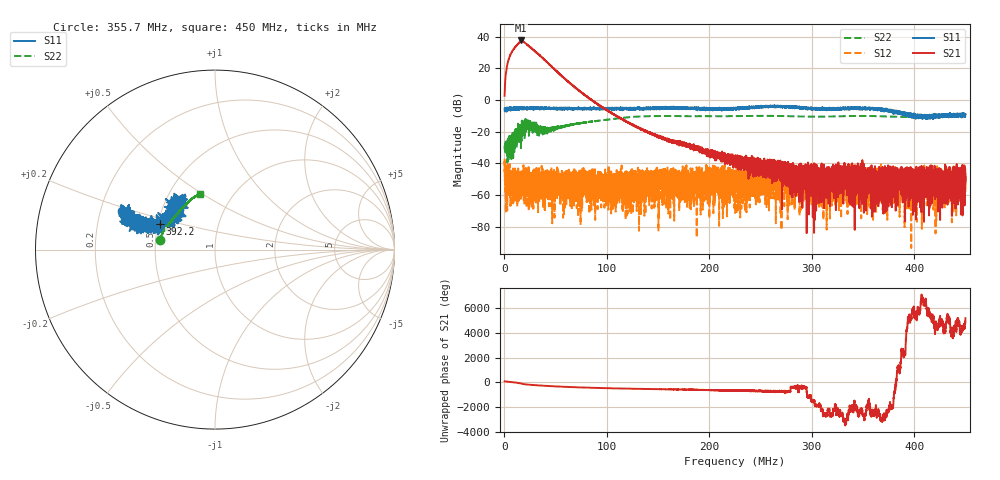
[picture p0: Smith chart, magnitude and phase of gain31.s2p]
# Hz S DB R 50
! CMT, M5065, 19127446, 24.2.4/2
! Date: 12/3/2024 4:14:46 PM
! Data: Format (Calibration Info)
! Freq	S11:dB/Ang(F2)	S21:dB/Ang(F2)	S12:dB/Ang(F2)	S22:dB/Ang(F2)
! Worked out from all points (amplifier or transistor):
!   9000 points, 300 kHz to 450 MHz, reference 50 ohm
!   highest |S21| = 37.6 dB at 16.54 MHz (marker M1)
!   |S21| within 3 dB of that: 12.19 MHz to 22.97 MHz (10.78 MHz wide, 61.3 % of centre)
!   unconditionally stable (mu >= 1): start of sweep to 18.67 MHz; 18.71 MHz to end of sweep
!   at 75.26 MHz: K = 113.48, MAG = 6.5 dB, |S12| = -55.3 dB
!   at 225.2 MHz: K = 8038.92, MAG = -37.2 dB, |S12| = -48.7 dB
!   at 450 MHz: K = 66541.18, MAG = -47.5 dB, |S12| = -56.0 dB
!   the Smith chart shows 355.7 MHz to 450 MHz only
!   S11 on the Smith chart (normalised r, x): 355.7 MHz: 0.29, +0.18; 392.2 MHz: 0.51, +0.16; 450 MHz: 0.55, +0.33
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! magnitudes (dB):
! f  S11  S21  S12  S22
! 300 kHz  -5.6  2.7  -37.2  -30.2
! 2.749 MHz  -4.8  21.8  -45.4  -29.2
! 5.297 MHz  -5.6  27.6  -53.6  -30.6
! 7.796 MHz  -6.2  30.9  -54.5  -26.5
! 16.54 MHz  -5.7  37.6  -48.8  -15.6
! 22.79 MHz  -5.0  34.7  -52.2  -15.8
! 42.38 MHz  -5.6  23.6  -48.7  -17.9
! 75.26 MHz  -5.2  4.8  -55.3  -14.5
! 111.8 MHz  -5.2  -11.0  -55.1  -11.5
! 150.2 MHz  -4.7  -23.0  -46.3  -10.1
! 225.2 MHz  -5.7  -39.0  -48.7  -10.2
! 272.9 MHz  -4.6  -42.5  -46.7  -10.2
! 300.1 MHz  -5.2  -41.9  -46.3  -10.5
! 355.7 MHz  -5.0  -48.4  -52.8  -10.1
! 375.1 MHz  -7.1  -50.9  -43.4  -10.4
! 385 MHz  -8.7  -46.9  -48.6  -10.6
! 392.2 MHz  -9.4  -61.6  -57.8  -10.8
! 438.5 MHz  -9.7  -46.6  -71.0  -10.0
! 443 MHz  -10.4  -64.5  -51.8  -9.9
! 447.5 MHz  -8.4  -51.0  -55.4  -9.9
! 450 MHz  -9.2  -51.8  -46.4  -9.9
! 450 MHz  -9.1  -48.5  -56.0  -9.9
